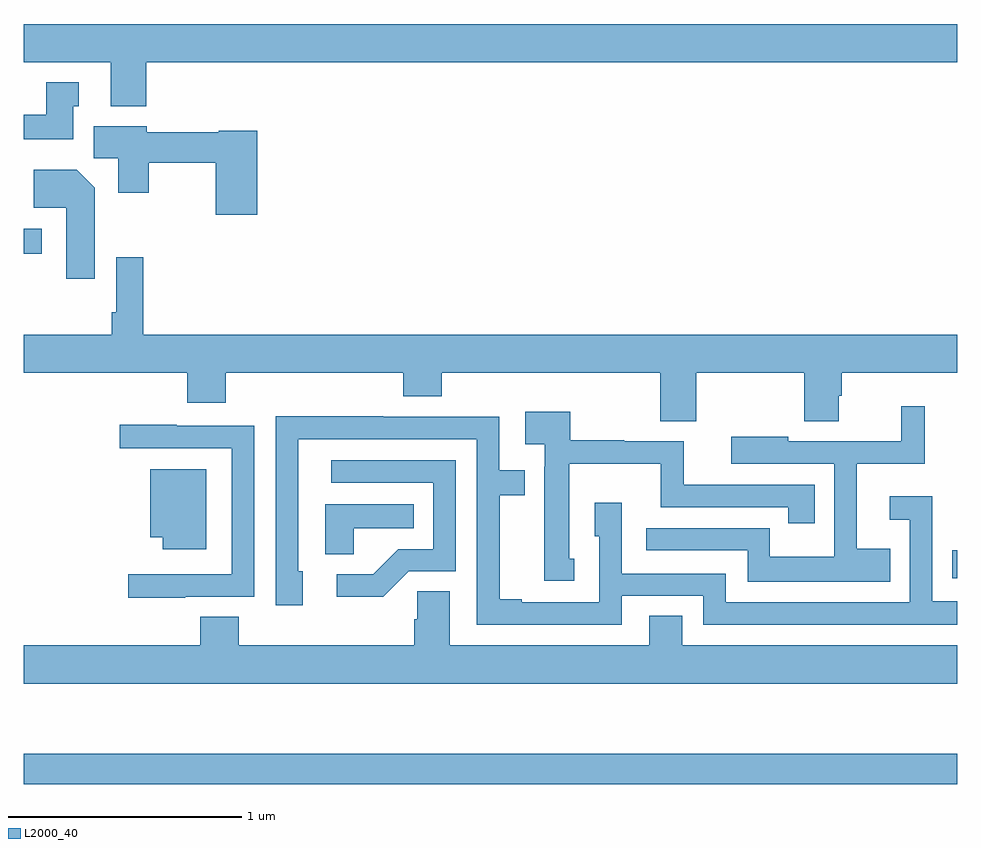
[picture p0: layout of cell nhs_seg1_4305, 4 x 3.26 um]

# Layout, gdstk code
import gdstk
lib = gdstk.Library(unit=1e-6, precision=1e-09)
def R(c, l, rs):  # rectangles x0, y0, x1, y1
    for r in rs: c.add(gdstk.rectangle(r[:2], r[2:], *l))
def P(c, l, *ps):  # polygons
    for p in ps: c.add(gdstk.Polygon(p, *l))
L2000_40 = (2000, 40)

nhs_seg1_4305 = lib.new_cell('nhs_seg1_4305')
R(nhs_seg1_4305, L2000_40, [(345,544.642,349,544.771), (348.979,545.523,349,545.643), (345,546.915,345.076,547.023)])
P(nhs_seg1_4305, L2000_40, [(345.524,547.736),(349,547.736),(349,547.9),(345,547.9),(345,547.736),(345.371,547.736),(345.371,547.547),(345.524,547.547)],
  [(345.211,547.548),(345.235,547.548),(345.235,547.651),(345.095,547.651),(345.095,547.51),(345,547.51),(345,547.406),(345.211,547.406)],
  [(346.001,547.443),(345.834,547.443),(345.834,547.435),(345.526,547.435),(345.526,547.462),(345.299,547.462),(345.299,547.324),(345.404,547.324),(345.404,547.176),(345.534,547.176),(345.534,547.306),(345.823,547.306),(345.823,547.083),(346.001,547.083)],
  [(345.304,547.198),(345.226,547.276),(345.043,547.276),(345.043,547.112),(345.182,547.112),(345.182,546.807),(345.304,546.807)],
  [(347.883,546.404),(348.346,546.404),(348.346,546.196),(348.493,546.196),(348.493,546.306),(348.506,546.306),(348.506,546.404),(349,546.404),(349,546.568),(345.512,546.568),(345.512,546.901),(345.396,546.901),(345.396,546.664),(345.376,546.664),(345.376,546.568),(345,546.568),(345,546.404),(345.701,546.404),(345.701,546.276),(345.866,546.276),(345.866,546.404),(346.625,546.404),(346.625,546.305),(346.79,546.305),(346.79,546.404),(347.728,546.404),(347.728,546.196),(347.883,546.196)],
  [(348.713,545.65),(348.571,545.65),(348.571,546.014),(348.862,546.014),(348.862,546.262),(348.76,546.262),(348.76,546.111),(348.277,546.111),(348.277,546.13),(348.033,546.13),(348.033,546.015),(348.474,546.015),(348.474,545.617),(348.198,545.617),(348.198,545.738),(348.095,545.738),(348.095,545.739),(347.667,545.739),(347.667,545.643),(348.102,545.643),(348.102,545.51),(348.713,545.51)],
  [(347.359,545.607),(347.338,545.607),(347.338,546.014),(347.729,546.014),(347.729,545.829),(348.276,545.829),(348.276,545.76),(348.389,545.76),(348.389,545.925),(347.828,545.925),(347.828,546.111),(347.574,546.111),(347.574,546.116),(347.341,546.116),(347.341,546.238),(347.148,546.238),(347.148,546.098),(347.232,546.098),(347.232,546.002),(347.231,546.002),(347.231,545.514),(347.359,545.514)],
  [(349,545.425),(348.894,545.425),(348.894,545.875),(348.711,545.875),(348.711,545.774),(348.798,545.774),(348.798,545.421),(348.009,545.421),(348.009,545.544),(347.562,545.544),(347.562,545.848),(347.447,545.848),(347.447,545.703),(347.466,545.703),(347.466,545.421),(347.134,545.421),(347.134,545.434),(347.039,545.434),(347.039,545.88),(347.146,545.88),(347.146,545.988),(347.037,545.988),(347.037,546.216),(346.541,546.216),(346.541,546.218),(346.08,546.218),(346.08,545.409),(346.195,545.409),(346.195,545.553),(346.176,545.553),(346.176,546.12),(346.941,546.12),(346.941,545.325),(347.562,545.325),(347.562,545.448),(347.913,545.448),(347.913,545.325),(348.901,545.325),(348.901,545.324),(349,545.324)],
  [(345.691,545.445),(345.987,545.445),(345.987,546.177),(345.655,546.177),(345.655,546.181),(345.411,546.181),(345.411,546.081),(345.891,546.081),(345.891,545.541),(345.447,545.541),(345.447,545.441),(345.691,545.441)],
  [(346.65,545.553),(346.851,545.553),(346.851,546.03),(346.317,546.03),(346.317,545.934),(346.755,545.934),(346.755,545.649),(346.605,545.649),(346.497,545.541),(346.341,545.541),(346.341,545.444),(346.54,545.444)],
  [(345.781,545.992),(345.542,545.992),(345.542,545.699),(345.596,545.699),(345.596,545.648),(345.781,545.648)],
  [(346.414,545.738),(346.67,545.738),(346.67,545.842),(346.292,545.842),(346.292,545.626),(346.414,545.626)],
  [(349,545.236),(347.821,545.236),(347.821,545.363),(347.681,545.363),(347.681,545.236),(346.825,545.236),(346.825,545.468),(346.687,545.468),(346.687,545.348),(346.673,545.348),(346.673,545.236),(345.92,545.236),(345.92,545.36),(345.755,545.36),(345.755,545.236),(345,545.236),(345,545.072),(349,545.072)])

lib.write_gds('nhs_seg1_4305.gds')
